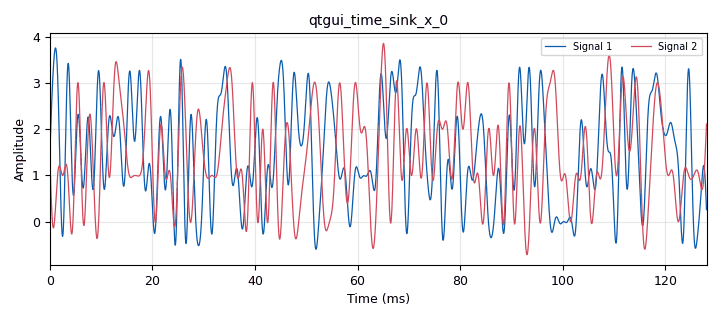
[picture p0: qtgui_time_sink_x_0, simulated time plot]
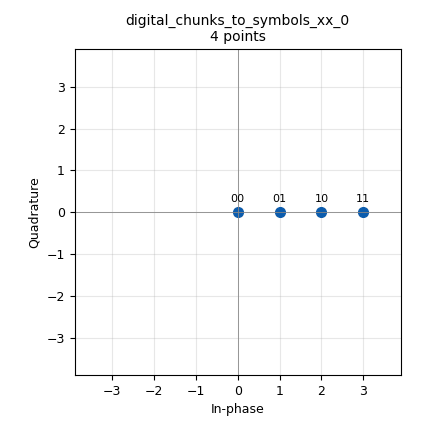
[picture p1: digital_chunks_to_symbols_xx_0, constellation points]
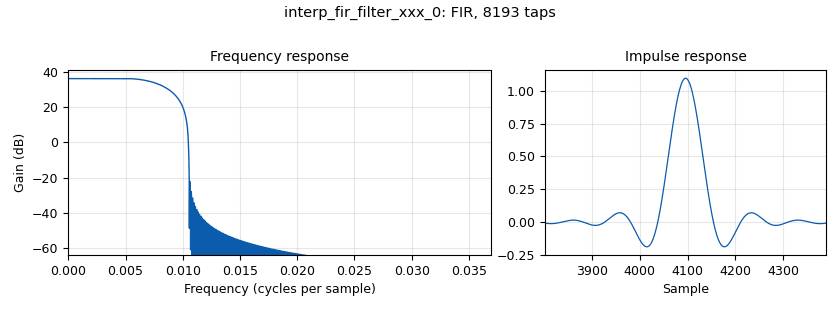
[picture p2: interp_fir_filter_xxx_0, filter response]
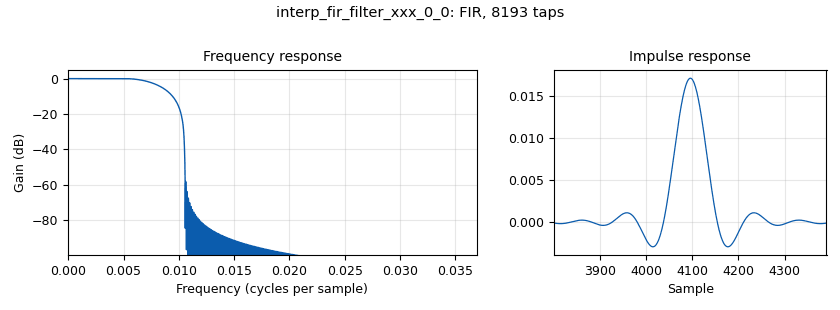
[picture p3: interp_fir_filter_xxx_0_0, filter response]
options:
  parameters:
    author: YASH
    generate_options: qt_gui
    id: ask_raised_cosine
    output_language: python
    title: Not titled yet
  states: {}

blocks:
- name: rrc_taps
  id: variable
  parameters:
    value: np.array(firdes.root_raised_cosine(64, samp_rate, 1000, 0.35, 8192))
  states: {}
- name: samp_rate
  id: variable
  parameters:
    value: 32000*2
  states: {}
- name: analog_random_source_x_0
  id: analog_random_source_x
  parameters:
    max: '4'
    min: '0'
    num_samps: '1024'
    repeat: 'True'
    type: int
  states: {}
- name: blocks_throttle2_0
  id: blocks_throttle2
  parameters:
    samples_per_second: samp_rate
    type: float
  states: {}
- name: digital_chunks_to_symbols_xx_0
  id: digital_chunks_to_symbols_xx
  parameters:
    dimension: '1'
    in_type: int
    out_type: float
    symbol_table: (0, 1, 2, 3)
  states: {}
- name: import_0
  id: import
  parameters:
    imports: import numpy as np
  states: {}
- name: interp_fir_filter_xxx_0
  id: interp_fir_filter_xxx
  parameters:
    interp: '64'
    taps: rrc_taps
    type: fff
  states: {}
- name: interp_fir_filter_xxx_0_0
  id: interp_fir_filter_xxx
  parameters:
    interp: '1'
    taps: rrc_taps / 64
    type: fff
  states: {}
- name: qtgui_time_sink_x_0
  id: qtgui_time_sink_x
  parameters:
    autoscale: 'True'
    ctrlpanel: 'True'
    nconnections: '2'
    size: len(rrc_taps)
    srate: samp_rate
    type: float
  states: {}

connections:
- [analog_random_source_x_0, '0', digital_chunks_to_symbols_xx_0, '0']
- [blocks_throttle2_0, '0', qtgui_time_sink_x_0, '0']
- [digital_chunks_to_symbols_xx_0, '0', interp_fir_filter_xxx_0, '0']
- [interp_fir_filter_xxx_0, '0', blocks_throttle2_0, '0']
- [interp_fir_filter_xxx_0, '0', interp_fir_filter_xxx_0_0, '0']
- [interp_fir_filter_xxx_0_0, '0', qtgui_time_sink_x_0, '1']

metadata:
  file_format: 1
  grc_version: 3.10.7.0
